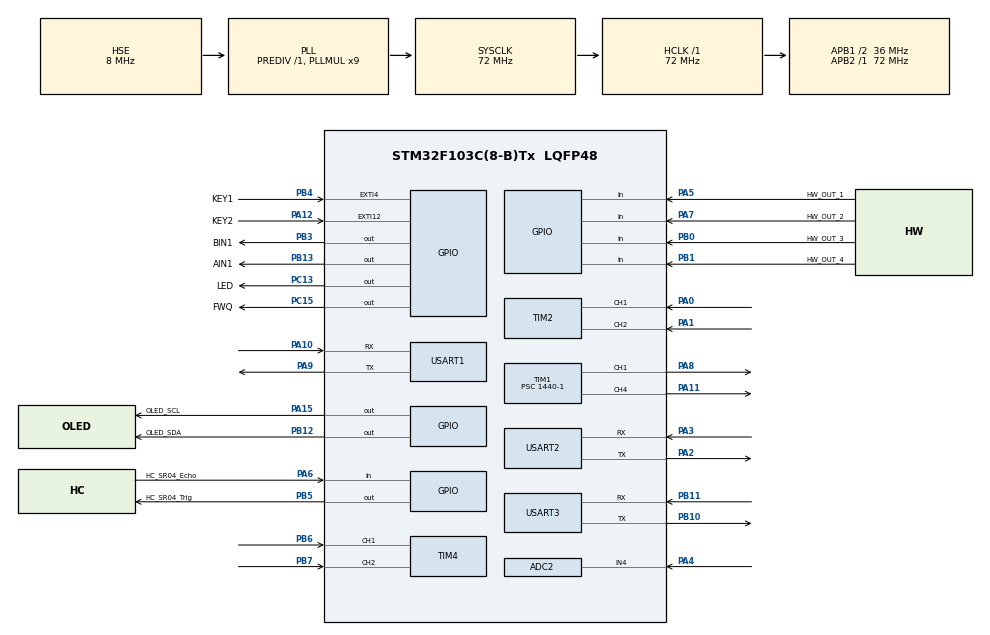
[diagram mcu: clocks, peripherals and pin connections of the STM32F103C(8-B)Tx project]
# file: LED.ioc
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ADC2.Channel-0\#ChannelRegularConversion=ADC_CHANNEL_4
ADC2.NbrOfConversionFlag=1
ADC2.Rank-0\#ChannelRegularConversion=1
ADC2.SamplingTime-0\#ChannelRegularConversion=ADC_SAMPLETIME_13CYCLES_5
Mcu.Family=STM32F1
Mcu.Name=STM32F103C(8-B)Tx
Mcu.Package=LQFP48
NVIC.EXTI15_10_IRQn=true\:0\:0\:false\:false\:true\:true\:true\:true
NVIC.EXTI4_IRQn=true\:0\:0\:false\:false\:true\:true\:true\:true
NVIC.PriorityGroup=NVIC_PRIORITYGROUP_4
NVIC.TIM1_UP_IRQn=true\:0\:0\:false\:false\:true\:true\:true\:true
NVIC.TIM2_IRQn=true\:0\:0\:false\:false\:true\:true\:true\:true
NVIC.TIM4_IRQn=true\:0\:0\:false\:false\:true\:true\:true\:true
NVIC.USART1_IRQn=true\:0\:0\:false\:false\:true\:true\:true\:true
NVIC.USART3_IRQn=true\:0\:0\:false\:false\:true\:true\:true\:true
PA0-WKUP.GPIO_PuPd=GPIO_PULLUP
PA0-WKUP.Signal=S_TIM2_CH1_ETR
PA1.GPIO_PuPd=GPIO_PULLUP
PA1.Signal=S_TIM2_CH2
PA10.Mode=Asynchronous
PA10.Signal=USART1_RX
PA11.Signal=S_TIM1_CH4
PA12.GPIO_Label=KEY2
PA12.GPIO_ModeDefaultEXTI=GPIO_MODE_IT_FALLING
PA12.GPIO_PuPd=GPIO_PULLUP
PA12.Signal=GPXTI12
PA13.Mode=Serial_Wire
PA13.Signal=SYS_JTMS-SWDIO
PA14.Mode=Serial_Wire
PA14.Signal=SYS_JTCK-SWCLK
PA15.GPIO_Label=OLED_SCL
PA15.GPIO_PuPd=GPIO_PULLUP
PA15.PinState=GPIO_PIN_SET
PA15.Signal=GPIO_Output
PA2.Mode=Asynchronous
PA2.Signal=USART2_TX
PA3.Mode=Asynchronous
PA3.Signal=USART2_RX
PA4.Signal=ADCx_IN4
PA5.GPIO_Label=HW_OUT_1
PA5.Signal=GPIO_Input
PA6.GPIO_Label=HC_SR04_Echo
PA6.Signal=GPIO_Input
PA7.GPIO_Label=HW_OUT_2
PA7.Signal=GPIO_Input
PA8.Signal=S_TIM1_CH1
PA9.Mode=Asynchronous
PA9.Signal=USART1_TX
PB0.GPIO_Label=HW_OUT_3
PB0.Signal=GPIO_Input
PB1.GPIO_Label=HW_OUT_4
PB1.Signal=GPIO_Input
PB10.Mode=Asynchronous
PB10.Signal=USART3_TX
PB11.Mode=Asynchronous
PB11.Signal=USART3_RX
PB12.GPIO_Label=OLED_SDA
PB12.GPIO_PuPd=GPIO_PULLUP
PB12.PinState=GPIO_PIN_SET
PB12.Signal=GPIO_Output
PB13.GPIO_Label=AIN1
PB13.Signal=GPIO_Output
PB3.GPIO_Label=BIN1
PB3.Signal=GPIO_Output
PB4.GPIO_Label=KEY1
PB4.GPIO_ModeDefaultEXTI=GPIO_MODE_IT_RISING
PB4.GPIO_PuPd=GPIO_PULLDOWN
PB4.Signal=GPXTI4
PB5.GPIO_Label=HC_SR04_Trig
PB5.Signal=GPIO_Output
PB6.GPIO_PuPd=GPIO_PULLUP
PB6.Signal=S_TIM4_CH1
PB7.GPIO_PuPd=GPIO_PULLUP
PB7.Signal=S_TIM4_CH2
PC13-TAMPER-RTC.GPIO_Label=LED
PC13-TAMPER-RTC.Signal=GPIO_Output
PC15-OSC32_OUT.GPIO_Label=FWQ
PC15-OSC32_OUT.Signal=GPIO_Output
PD0-OSC_IN.Mode=HSE-External-Oscillator
PD0-OSC_IN.Signal=RCC_OSC_IN
PD1-OSC_OUT.Mode=HSE-External-Oscillator
PD1-OSC_OUT.Signal=RCC_OSC_OUT
ProjectManager.HeapSize=0x800
ProjectManager.StackSize=0x800
ProjectManager.TargetToolchain=MDK-ARM V5.32
RCC.ADCPresc=RCC_ADCPCLK2_DIV6
RCC.AHBFreq_Value=72000000
RCC.APB1CLKDivider=RCC_HCLK_DIV2
RCC.APB1Freq_Value=36000000
RCC.APB1TimFreq_Value=72000000
RCC.APB2Freq_Value=72000000
RCC.APB2TimFreq_Value=72000000
RCC.HCLKFreq_Value=72000000
RCC.PLLMUL=RCC_PLL_MUL9
RCC.PLLSourceVirtual=RCC_PLLSOURCE_HSE
RCC.SYSCLKFreq_VALUE=72000000
RCC.SYSCLKSource=RCC_SYSCLKSOURCE_PLLCLK
RCC.USBFreq_Value=72000000
SH.ADCx_IN4.0=ADC2_IN4,IN4
SH.S_TIM1_CH1.0=TIM1_CH1,PWM Generation1 CH1
SH.S_TIM1_CH4.0=TIM1_CH4,PWM Generation4 CH4
SH.S_TIM2_CH1_ETR.0=TIM2_CH1,Encoder_Interface
SH.S_TIM2_CH2.0=TIM2_CH2,Encoder_Interface
SH.S_TIM4_CH1.0=TIM4_CH1,Encoder_Interface
SH.S_TIM4_CH2.0=TIM4_CH2,Encoder_Interface
TIM1.AutoReloadPreload=TIM_AUTORELOAD_PRELOAD_ENABLE
TIM1.Channel-PWM\ Generation1\ CH1=TIM_CHANNEL_1
TIM1.Channel-PWM\ Generation4\ CH4=TIM_CHANNEL_4
TIM1.Period=100-1
TIM1.Prescaler=1440-1
TIM1.Pulse-PWM\ Generation1\ CH1=50
TIM1.Pulse-PWM\ Generation4\ CH4=50
TIM2.EncoderMode=TIM_ENCODERMODE_TI12
TIM2.IC1Filter=6
TIM2.IC2Filter=6
TIM4.EncoderMode=TIM_ENCODERMODE_TI12
TIM4.IC1Filter=6
TIM4.IC2Filter=6
USART1.VirtualMode=VM_ASYNC
USART2.VirtualMode=VM_ASYNC
USART3.VirtualMode=VM_ASYNC
VP_TIM1_VS_ClockSourceINT.Mode=Internal
board=custom

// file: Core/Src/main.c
/* USER CODE BEGIN Header */
/**
  ******************************************************************************
  * @file           : main.c
  * @brief          : Main program body
  ******************************************************************************
  * @attention
  *
  * Copyright (c) 2022 STMicroelectronics.
  * All rights reserved.
  *
  * This software is licensed under terms that can be found in the LICENSE file
  * in the root directory of this software component.
  * If no LICENSE file comes with this software, it is provided AS-IS.
  *
  ******************************************************************************
  */
/* USER CODE END Header */
#include "main.h"
#include "adc.h"
#include "tim.h"
#include "usart.h"
#include "gpio.h"

/* USER CODE BEGIN Includes */
#include "oled.h"
#include "stdio.h"
#include "motor.h"
#include "niming.h"
#include "pid.h"
#include "cJSON.h"
#include <string.h>
#include "HC_SR04.h"

/* USER CODE END Includes */

/* USER CODE BEGIN PM */
extern float Motor1Speed ;
extern float Motor2Speed ;
int Motor1Pwm;
int Motor2Pwm;

extern tPid pidMotor1Speed;
extern tPid pidMotor2Speed;

extern uint8_t Usart1_ReadBuf[255]; //串口1 缓冲数组
extern uint8_t Usart1_ReadCount; //串口1 接收字节计数

float p,i,d,a,b;

extern float Mileage;
uint8_t OledString[35];
uint8_t Usart3String[20];
float g;

/* USER CODE END PM */

void SystemClock_Config(void);

int main(void)
{

  /* MCU Configuration--------------------------------------------------------*/

  /* Reset of all peripherals, Initializes the Flash interface and the Systick. */
  HAL_Init();

  /* Configure the system clock */
  SystemClock_Config();

  /* Initialize all configured peripherals */
  MX_GPIO_Init();
  MX_USART1_UART_Init();
  MX_TIM1_Init();
  MX_TIM2_Init();
  MX_TIM4_Init();
  MX_ADC2_Init();
  MX_USART2_UART_Init();
  MX_USART3_UART_Init();
  /* USER CODE BEGIN 2 */
  OLED_Init();			//初始化OLED
  OLED_Clear()  	;
  HAL_TIM_PWM_Start(&htim1,TIM_CHANNEL_1);//开启定时器1 通道1 PWM输出
  HAL_TIM_PWM_Start(&htim1,TIM_CHANNEL_4);//开启定时器1 通道4 PWM输出
  HAL_TIM_Encoder_Start(&htim2,TIM_CHANNEL_ALL);//开启定时器2
  HAL_TIM_Encoder_Start(&htim4,TIM_CHANNEL_ALL);//开启定时器4
  HAL_TIM_Base_Start_IT(&htim2);				//开启定时器2 中断
  HAL_TIM_Base_Start_IT(&htim4);                //开启定时器4 中断

  HAL_TIM_Base_Start_IT(&htim1);                //开启定时器1 中断

  PID_init();//PID初始化

	__HAL_UART_ENABLE_IT(&huart1,UART_IT_RXNE); //开启串口1接受中断

//	cJSON *cJsonData ,*cJsonVlaue;
  /* USER CODE END 2 */

  /* Infinite loop */
  /* USER CODE BEGIN WHILE */

if(READ_KEY2 ==0)
	{
		motorPidSetSpeed(0.2,0.2);
		while(1)
		{
			 sprintf((char *)Usart3String,"Mileage%.2f\r\n",Mileage);
       HAL_UART_Transmit(&huart3,( uint8_t *)Usart3String,strlen(( const char*)Usart3String),50);
	     sprintf((char *)OledString,"Mileage:%.2f ",Mileage);//显示里程数
       OLED_ShowString(0,2,OledString,12);//这个是oled驱动里面的，是显示位置的一个函数
			 if(Mileage>85)
			 {
			 motorPidSetSpeed(0,0);
			 HAL_Delay(1000);
			 motorPidSetSpeed(0.5,-0.5);
		   HAL_Delay(1300);
			 motorPidSetSpeed(0,0);
			 HAL_Delay(1000);
			 motorPidSetSpeed(0.2,0.2);
			 HAL_Delay(1000);
			 break;
			 }
		}
	}

		while(1)
	{
	HAL_Delay(1000);
	HAL_Delay(1000);
  HAL_Delay(1000);
  HAL_Delay(1000);
  HAL_Delay(1000);
	HAL_GPIO_WritePin(FWQ_GPIO_Port,FWQ_Pin,GPIO_PIN_SET);
	HAL_Delay(500);
	HAL_GPIO_WritePin(FWQ_GPIO_Port,FWQ_Pin,GPIO_PIN_RESET);
	HAL_Delay(1000);
	HAL_GPIO_WritePin(FWQ_GPIO_Port,FWQ_Pin,GPIO_PIN_SET);
	HAL_Delay(500);
	HAL_GPIO_WritePin(FWQ_GPIO_Port,FWQ_Pin,GPIO_PIN_RESET);
	HAL_Delay(1000);
	HAL_GPIO_WritePin(FWQ_GPIO_Port,FWQ_Pin,GPIO_PIN_SET);
	HAL_Delay(500);
	HAL_GPIO_WritePin(FWQ_GPIO_Port,FWQ_Pin,GPIO_PIN_RESET);
	HAL_Delay(1000);
	motorPidSetSpeed(0.35,0.35);
	HAL_Delay(1000);
	break;

	}

  while (1)
  {

	HAL_Delay(10);

   sprintf((char *)Usart3String,"Mileage%.2f\r\n",Mileage);
   HAL_UART_Transmit(&huart3,( uint8_t *)Usart3String,strlen(( const char*)Usart3String),50);
   sprintf((char *)OledString,"Mileage:%.2f ",Mileage);//显示里程数
   OLED_ShowString(0,2,OledString,12);//这个是oled驱动里面的，是显示位置的一个函数
//
//	 sprintf((char *)OledString,"U:%.2fV ",adcGetBatteryVoltage());//显示里程数
//   OLED_ShowString(0,4,OledString,12);//这个是oled驱动里面的，是显示位置的一个函数
//

	 if(READ_HW_OUT_1 == 1&&READ_HW_OUT_2 == 1&&READ_HW_OUT_3 == 1&&READ_HW_OUT_4== 1 )
	 {
		 motorPidSetSpeed(0.2,0.2);
		 HAL_Delay(2000);
//			motorPidSetSpeed(-0.45,0.45);
//		    HAL_Delay(100);
			motorPidSetSpeed(0,0);
		    break;
	 }
	 else if(READ_HW_OUT_1 == 1&&READ_HW_OUT_2 == 1&&READ_HW_OUT_3 == 1&&READ_HW_OUT_4== 0 )
	 {

		 motorPidSetSpeed(0.2,0.2);
		 HAL_Delay(2000);
//			motorPidSetSpeed(-0.45,0.45);
//		 HAL_Delay(100);
			motorPidSetSpeed(0,0);
		    break;
	 }
	 else if(READ_HW_OUT_1 == 0&&READ_HW_OUT_2 == 1&&READ_HW_OUT_3 == 1&&READ_HW_OUT_4== 1 )
	 {

		 motorPidSetSpeed(0.2,0.2);
		 HAL_Delay(2000);
//			motorPidSetSpeed(-0.45,0.45);
//	   HAL_Delay(100);
			motorPidSetSpeed(0,0);
		    break;
	 }
	else if(READ_HW_OUT_1 == 0&&READ_HW_OUT_2 == 1&&READ_HW_OUT_3 == 1&&READ_HW_OUT_4== 0 )
	 {

		 motorPidSetSpeed(0.2,0.2);
		 HAL_Delay(2000);
//			motorPidSetSpeed(-0.45,0.45);
//		 HAL_Delay(100);
			motorPidSetSpeed(0,0);
		    break;
	 }
	 else if(READ_HW_OUT_1 == 0&&READ_HW_OUT_2 == 0&&READ_HW_OUT_3 == 1&&READ_HW_OUT_4== 1 )
	 {
		 motorPidSetSpeed(0.2,0.2);
		 HAL_Delay(2000);
//			motorPidSetSpeed(-0.45,0.45);
//	   HAL_Delay(100);
			motorPidSetSpeed(0,0);
		    break;
	 }
	 else if(READ_HW_OUT_1 == 1&&READ_HW_OUT_2 == 1&&READ_HW_OUT_3 == 0&&READ_HW_OUT_4== 0 )
	 {
			motorPidSetSpeed(0,0);
		    break;
	 }

	 if(READ_HW_OUT_1 == 0&&READ_HW_OUT_2 == 0&&READ_HW_OUT_3 == 0&&READ_HW_OUT_4== 0 )
	 {

			motorPidSetSpeed(0.12,0.12);//前运动
	 }

    if(READ_HW_OUT_1 == 0&&READ_HW_OUT_2 == 0&&READ_HW_OUT_3 == 1&&READ_HW_OUT_4== 0 )
		{

			motorPidSetSpeed(0.15,0.35);//右边运动
		}

    if(READ_HW_OUT_1 == 0&&READ_HW_OUT_2 == 0&&READ_HW_OUT_3 == 0&&READ_HW_OUT_4== 1 )
		{

			motorPidSetSpeed(0.15,0.7);//快速右转
		}

    if(READ_HW_OUT_1 == 0&&READ_HW_OUT_2 == 1&&READ_HW_OUT_3 == 0&&READ_HW_OUT_4== 0 )
		{

			motorPidSetSpeed(0.35,0.15);//左边运动
		}

    if(READ_HW_OUT_1 == 1&&READ_HW_OUT_2 == 0&&READ_HW_OUT_3 == 0&&READ_HW_OUT_4== 0 )
		{

			motorPidSetSpeed(0.7,0.15);//快速左转
		}
  }

			while(1)//在暂停点1蜂鸣加超声波测距
	{

	HAL_GPIO_WritePin(FWQ_GPIO_Port,FWQ_Pin,GPIO_PIN_SET);
	HAL_Delay(500);
	HAL_GPIO_WritePin(FWQ_GPIO_Port,FWQ_Pin,GPIO_PIN_RESET);
	HAL_Delay(1000);
	HAL_GPIO_WritePin(FWQ_GPIO_Port,FWQ_Pin,GPIO_PIN_SET);
	HAL_Delay(500);
	HAL_GPIO_WritePin(FWQ_GPIO_Port,FWQ_Pin,GPIO_PIN_RESET);
	HAL_Delay(1000);
	HAL_GPIO_WritePin(FWQ_GPIO_Port,FWQ_Pin,GPIO_PIN_SET);
	HAL_Delay(500);
	HAL_GPIO_WritePin(FWQ_GPIO_Port,FWQ_Pin,GPIO_PIN_RESET);
	HAL_Delay(1000);
	float g = HC_SR04_Read();

	sprintf((char *)OledString,"g:%.2fcm",g+7);//显示超声波数据
  OLED_ShowString(0,0,OledString,12);//这个是oled驱动里面的，是显示位置的一个函数
	sprintf((char *)Usart3String,"g:%.2f\r\n",g+7);
  HAL_UART_Transmit(&huart3,( uint8_t *)Usart3String,strlen(( const char*)Usart3String),50);

	HAL_Delay(1000);
  HAL_Delay(1000);
  HAL_Delay(1000);
	HAL_Delay(1000);
	HAL_GPIO_WritePin(FWQ_GPIO_Port,FWQ_Pin,GPIO_PIN_SET);
	HAL_Delay(500);
	HAL_GPIO_WritePin(FWQ_GPIO_Port,FWQ_Pin,GPIO_PIN_RESET);
	HAL_Delay(1000);
	HAL_GPIO_WritePin(FWQ_GPIO_Port,FWQ_Pin,GPIO_PIN_SET);
	HAL_Delay(500);
	HAL_GPIO_WritePin(FWQ_GPIO_Port,FWQ_Pin,GPIO_PIN_RESET);
	HAL_Delay(1000);
	HAL_GPIO_WritePin(FWQ_GPIO_Port,FWQ_Pin,GPIO_PIN_SET);
	HAL_Delay(500);
	HAL_GPIO_WritePin(FWQ_GPIO_Port,FWQ_Pin,GPIO_PIN_RESET);
	break;
   }

   while(1)//避障前的循线
   {
	 sprintf((char *)Usart3String,"Mileage%.2f\r\n",Mileage);
   HAL_UART_Transmit(&huart3,( uint8_t *)Usart3String,strlen(( const char*)Usart3String),50);

		 sprintf((char *)OledString,"Mileage:%.2f ",Mileage);//显示里程数
     OLED_ShowString(0,2,OledString,12);//这个是oled驱动里面的，是显示位置的一个函数

			 if(READ_HW_OUT_1 == 0&&READ_HW_OUT_2 == 0&&READ_HW_OUT_3 == 0&&READ_HW_OUT_4== 0 )
	 {

			motorPidSetSpeed(0.4,0.4);//前运动
	 }

    if(READ_HW_OUT_1 == 0&&READ_HW_OUT_2 == 0&&READ_HW_OUT_3 == 1&&READ_HW_OUT_4== 0 )
		{

			motorPidSetSpeed(0.2,0.3);//右边运动，0.2 0.4
		}

    if(READ_HW_OUT_1 == 0&&READ_HW_OUT_2 == 0&&READ_HW_OUT_3 == 0&&READ_HW_OUT_4== 1 )
		{

			motorPidSetSpeed(0.2,0.6);//快速右转
		}

    if(READ_HW_OUT_1 == 0&&READ_HW_OUT_2 == 1&&READ_HW_OUT_3 == 0&&READ_HW_OUT_4== 0 )
		{

			motorPidSetSpeed(0.3,0.2);//左边运动
		}

    if(READ_HW_OUT_1 == 1&&READ_HW_OUT_2 == 0&&READ_HW_OUT_3 == 0&&READ_HW_OUT_4== 0 )
		{

			motorPidSetSpeed(0.6,0.2);//快速左转
		}

	   float g = HC_SR04_Read();
		 if(g<=22&&g>1)  break;
	  }

	//避障代码
		motorPidSetSpeed(1,-1);
		HAL_Delay(350);
	  motorPidSetSpeed(0,0);
	  HAL_Delay(500);
		motorPidSetSpeed(1,1);
		HAL_Delay(1800);
		motorPidSetSpeed(0,0);
	  HAL_Delay(500);
	  motorPidSetSpeed(-1,1);
		HAL_Delay(600);
	  motorPidSetSpeed(0,0);
	  HAL_Delay(500);

		while(1)//避障到达暂停点2
   {

	 sprintf((char *)Usart3String,"Mileage%.2f\r\n",Mileage);
   HAL_UART_Transmit(&huart3,( uint8_t *)Usart3String,strlen(( const char*)Usart3String),50);

		 sprintf((char *)OledString,"Mileage:%.2f ",Mileage);//显示里程数
     OLED_ShowString(0,2,OledString,12);//这个是oled驱动里面的，是显示位置的一个函数

		if(READ_HW_OUT_1 == 1&&READ_HW_OUT_2 == 1&&READ_HW_OUT_3 == 1&&READ_HW_OUT_4== 1 )
	 {
      motorPidSetSpeed(0.3,0.3);
		  HAL_Delay(500);
			motorPidSetSpeed(0,0);
		  HAL_Delay(500);
		    break;
	 }
	 else if(READ_HW_OUT_1 == 1&&READ_HW_OUT_2 == 1&&READ_HW_OUT_3 == 1&&READ_HW_OUT_4== 0 )
	 {
      motorPidSetSpeed(0.3,0.3);
		  HAL_Delay(500);
			motorPidSetSpeed(0,0);
		  HAL_Delay(500);
		    break;
	 }
	 else if(READ_HW_OUT_1 == 0&&READ_HW_OUT_2 == 1&&READ_HW_OUT_3 == 1&&READ_HW_OUT_4== 1 )
	 {
      motorPidSetSpeed(0.3,0.3);
		  HAL_Delay(500);
			motorPidSetSpeed(0,0);
		  HAL_Delay(500);
		    break;
	 }
	else if(READ_HW_OUT_1 == 0&&READ_HW_OUT_2 == 1&&READ_HW_OUT_3 == 1&&READ_HW_OUT_4== 0 )
	 {
      motorPidSetSpeed(0.3,0.3);
		  HAL_Delay(500);
			motorPidSetSpeed(0,0);
		  HAL_Delay(500);
		    break;
	 }
	 else if(READ_HW_OUT_1 == 0&&READ_HW_OUT_2 == 0&&READ_HW_OUT_3 == 1&&READ_HW_OUT_4== 1 )
	 {
      motorPidSetSpeed(0.3,0.3);
		  HAL_Delay(500);
			motorPidSetSpeed(0,0);
		  HAL_Delay(500);
		    break;
	 }
	 else if(READ_HW_OUT_1 == 1&&READ_HW_OUT_2 == 1&&READ_HW_OUT_3 == 0&&READ_HW_OUT_4== 0 )
	 {
		  motorPidSetSpeed(0.3,0.3);
		  HAL_Delay(500);
			motorPidSetSpeed(0,0);
		  HAL_Delay(500);
		    break;
	 }

		if(READ_HW_OUT_1 == 0&&READ_HW_OUT_2 == 0&&READ_HW_OUT_3 == 0&&READ_HW_OUT_4== 0 )
	 {
			printf("应该前进\r\n");
			motorPidSetSpeed(0.4,0.4);//前运动
	 }

    if(READ_HW_OUT_1 == 0&&READ_HW_OUT_2 == 0&&READ_HW_OUT_3 == 1&&READ_HW_OUT_4== 0 )
		{
			printf("应该右转\r\n");
			motorPidSetSpeed(0.1,0.3);//右边运动
		}

    if(READ_HW_OUT_1 == 0&&READ_HW_OUT_2 == 0&&READ_HW_OUT_3 == 0&&READ_HW_OUT_4== 1 )
		{
			printf("快速右转\r\n");
			motorPidSetSpeed(0.1,0.7);//快速右转
		}

    if(READ_HW_OUT_1 == 0&&READ_HW_OUT_2 == 1&&READ_HW_OUT_3 == 0&&READ_HW_OUT_4== 0 )
		{
			printf("应该左转\r\n");
			motorPidSetSpeed(0.5,0.1);//左边运动
		}

    if(READ_HW_OUT_1 == 1&&READ_HW_OUT_2 == 0&&READ_HW_OUT_3 == 0&&READ_HW_OUT_4== 0 )
		{
			printf("快速左转\r\n");
			motorPidSetSpeed(0.7,0.1);//快速左转
		}

	 }
	 //	 motorPidSetSpeed(-1,1);
	 //  HAL_Delay(600);//90度角k

	 while(1)//在暂停点2蜂鸣
	 {
//			sprintf((char *)OledString,"HC_SR04:%.2fcm",g);//显示超声波数据
//			OLED_ShowString(0,1,OledString,12);//这个是oled驱动里面的，是显示位置的一个函数
			HAL_GPIO_WritePin(FWQ_GPIO_Port,FWQ_Pin,GPIO_PIN_SET);
			HAL_Delay(500);
			HAL_GPIO_WritePin(FWQ_GPIO_Port,FWQ_Pin,GPIO_PIN_RESET);
			HAL_Delay(1000);
			HAL_GPIO_WritePin(FWQ_GPIO_Port,FWQ_Pin,GPIO_PIN_SET);
			HAL_Delay(500);
			HAL_GPIO_WritePin(FWQ_GPIO_Port,FWQ_Pin,GPIO_PIN_RESET);
			HAL_Delay(1000);
			HAL_GPIO_WritePin(FWQ_GPIO_Port,FWQ_Pin,GPIO_PIN_SET);
			HAL_Delay(500);
			HAL_GPIO_WritePin(FWQ_GPIO_Port,FWQ_Pin,GPIO_PIN_RESET);
			HAL_Delay(5000);
		  HAL_GPIO_WritePin(FWQ_GPIO_Port,FWQ_Pin,GPIO_PIN_SET);
			HAL_Delay(500);
			HAL_GPIO_WritePin(FWQ_GPIO_Port,FWQ_Pin,GPIO_PIN_RESET);
			HAL_Delay(1000);
			HAL_GPIO_WritePin(FWQ_GPIO_Port,FWQ_Pin,GPIO_PIN_SET);
			HAL_Delay(500);
			HAL_GPIO_WritePin(FWQ_GPIO_Port,FWQ_Pin,GPIO_PIN_RESET);
			HAL_Delay(1000);
			HAL_GPIO_WritePin(FWQ_GPIO_Port,FWQ_Pin,GPIO_PIN_SET);
			HAL_Delay(500);
			HAL_GPIO_WritePin(FWQ_GPIO_Port,FWQ_Pin,GPIO_PIN_RESET);
			break;
	 }

	 motorPidSetSpeed(0.5,0.5);
	 HAL_Delay(4300);
	 motorPidSetSpeed(0,0);
	 HAL_Delay(1500);
	 motorPidSetSpeed(-0.5,0.5);
	 HAL_Delay(1300);

	 while(1)//到暂停点三的循线
	 {

		 sprintf((char *)Usart3String,"Mileage%.2f\r\n",Mileage);
   HAL_UART_Transmit(&huart3,( uint8_t *)Usart3String,strlen(( const char*)Usart3String),50);

		 sprintf((char *)OledString,"Mileage:%.2f ",Mileage);//显示里程数
     OLED_ShowString(0,2,OledString,12);//这个是oled驱动里面的，是显示位置的一个函数

	 	if(READ_HW_OUT_1 == 1&&READ_HW_OUT_2 == 1&&READ_HW_OUT_3 == 1&&READ_HW_OUT_4== 1 )
	 {
      motorPidSetSpeed(0.8,0.8);
		  HAL_Delay(500);
			motorPidSetSpeed(0,0);
		  HAL_Delay(500);
		    break;
	 }
	 else if(READ_HW_OUT_1 == 1&&READ_HW_OUT_2 == 1&&READ_HW_OUT_3 == 1&&READ_HW_OUT_4== 0 )
	 {
      motorPidSetSpeed(0.8,0.8);
		  HAL_Delay(500);
			motorPidSetSpeed(0,0);
		  HAL_Delay(500);
		    break;
	 }
	 else if(READ_HW_OUT_1 == 0&&READ_HW_OUT_2 == 1&&READ_HW_OUT_3 == 1&&READ_HW_OUT_4== 1 )
	 {
      motorPidSetSpeed(0.8,0.8);
		  HAL_Delay(500);
			motorPidSetSpeed(0,0);
		  HAL_Delay(500);
		    break;
	 }
	else if(READ_HW_OUT_1 == 0&&READ_HW_OUT_2 == 1&&READ_HW_OUT_3 == 1&&READ_HW_OUT_4== 0 )
	 {
      motorPidSetSpeed(0.8,0.8);
		  HAL_Delay(500);
			motorPidSetSpeed(0,0);
		  HAL_Delay(500);
		    break;
	 }
	 else if(READ_HW_OUT_1 == 0&&READ_HW_OUT_2 == 0&&READ_HW_OUT_3 == 1&&READ_HW_OUT_4== 1 )
	 {
      motorPidSetSpeed(0.8,0.8);
		  HAL_Delay(500);
			motorPidSetSpeed(0,0);
		  HAL_Delay(500);
		    break;
	 }
	 else if(READ_HW_OUT_1 == 1&&READ_HW_OUT_2 == 1&&READ_HW_OUT_3 == 0&&READ_HW_OUT_4== 0 )
	 {
		  motorPidSetSpeed(0.8,0.8);
		  HAL_Delay(500);
			motorPidSetSpeed(0,0);
		  HAL_Delay(500);
		    break;
	 }

		if(READ_HW_OUT_1 == 0&&READ_HW_OUT_2 == 0&&READ_HW_OUT_3 == 0&&READ_HW_OUT_4== 0 )
	 {
			printf("应该前进\r\n");
			motorPidSetSpeed(0.8,0.8);//前运动
	 }

    if(READ_HW_OUT_1 == 0&&READ_HW_OUT_2 == 0&&READ_HW_OUT_3 == 1&&READ_HW_OUT_4== 0 )
		{
			printf("应该右转\r\n");
			motorPidSetSpeed(0.1,0.3);//右边运动
		}

    if(READ_HW_OUT_1 == 0&&READ_HW_OUT_2 == 0&&READ_HW_OUT_3 == 0&&READ_HW_OUT_4== 1 )
		{
			printf("快速右转\r\n");
			motorPidSetSpeed(0.1,0.6);//快速右转
		}

    if(READ_HW_OUT_1 == 0&&READ_HW_OUT_2 == 1&&READ_HW_OUT_3 == 0&&READ_HW_OUT_4== 0 )
		{
			printf("应该左转\r\n");
			motorPidSetSpeed(0.3,0.1);//左边运动
		}

    if(READ_HW_OUT_1 == 1&&READ_HW_OUT_2 == 0&&READ_HW_OUT_3 == 0&&READ_HW_OUT_4== 0 )
		{
			printf("快速左转\r\n");
			motorPidSetSpeed(0.6,0.1);//快速左转
		}

	 }

	    HAL_GPIO_WritePin(FWQ_GPIO_Port,FWQ_Pin,GPIO_PIN_SET);
			HAL_Delay(500);
			HAL_GPIO_WritePin(FWQ_GPIO_Port,FWQ_Pin,GPIO_PIN_RESET);
			HAL_Delay(1000);
			HAL_GPIO_WritePin(FWQ_GPIO_Port,FWQ_Pin,GPIO_PIN_SET);
			HAL_Delay(500);
			HAL_GPIO_WritePin(FWQ_GPIO_Port,FWQ_Pin,GPIO_PIN_RESET);
			HAL_Delay(1000);
			HAL_GPIO_WritePin(FWQ_GPIO_Port,FWQ_Pin,GPIO_PIN_SET);
			HAL_Delay(500);
			HAL_GPIO_WritePin(FWQ_GPIO_Port,FWQ_Pin,GPIO_PIN_RESET);
	    HAL_Delay(5000);
		  HAL_GPIO_WritePin(FWQ_GPIO_Port,FWQ_Pin,GPIO_PIN_SET);
			HAL_Delay(500);
			HAL_GPIO_WritePin(FWQ_GPIO_Port,FWQ_Pin,GPIO_PIN_RESET);
			HAL_Delay(1000);
			HAL_GPIO_WritePin(FWQ_GPIO_Port,FWQ_Pin,GPIO_PIN_SET);
			HAL_Delay(500);
			HAL_GPIO_WritePin(FWQ_GPIO_Port,FWQ_Pin,GPIO_PIN_RESET);
			HAL_Delay(1000);
			HAL_GPIO_WritePin(FWQ_GPIO_Port,FWQ_Pin,GPIO_PIN_SET);
			HAL_Delay(500);
			HAL_GPIO_WritePin(FWQ_GPIO_Port,FWQ_Pin,GPIO_PIN_RESET);

	     motorPidSetSpeed(-1,1);
	     HAL_Delay(300);//90度角k
	     motorPidSetSpeed(0,0);
	     HAL_Delay(600);
	     motorPidSetSpeed(1,1);
	     HAL_Delay(7500);
			 motorPidSetSpeed(0,0);
	     HAL_Delay(600);
			 motorPidSetSpeed(0,0);
	     motorPidSetSpeed(-1,1);
			 HAL_Delay(750);
			 motorPidSetSpeed(0,0);
			 HAL_Delay(600);

	 while(1)
	 {

		 sprintf((char *)Usart3String,"Mileage%.2f\r\n",Mileage);
     HAL_UART_Transmit(&huart3,( uint8_t *)Usart3String,strlen(( const char*)Usart3String),50);

		 sprintf((char *)OledString,"Mileage:%.2f ",Mileage);//显示里程数
     OLED_ShowString(0,2,OledString,12);//这个是oled驱动里面的，是显示位置的一个函数

	 	if(READ_HW_OUT_1 == 1&&READ_HW_OUT_2 == 1&&READ_HW_OUT_3 == 1&&READ_HW_OUT_4== 1 )
	 {
      motorPidSetSpeed(0.8,0.8);
		  HAL_Delay(500);
			motorPidSetSpeed(0,0);
		  HAL_Delay(500);
		    break;
	 }
	 else if(READ_HW_OUT_1 == 1&&READ_HW_OUT_2 == 1&&READ_HW_OUT_3 == 1&&READ_HW_OUT_4== 0 )
	 {
      motorPidSetSpeed(0.8,0.8);
		  HAL_Delay(500);
			motorPidSetSpeed(0,0);
		  HAL_Delay(500);
		    break;
	 }
	 else if(READ_HW_OUT_1 == 0&&READ_HW_OUT_2 == 1&&READ_HW_OUT_3 == 1&&READ_HW_OUT_4== 1 )
	 {
      motorPidSetSpeed(0.8,0.8);
		  HAL_Delay(500);
			motorPidSetSpeed(0,0);
		  HAL_Delay(500);
		    break;
	 }
	else if(READ_HW_OUT_1 == 0&&READ_HW_OUT_2 == 1&&READ_HW_OUT_3 == 1&&READ_HW_OUT_4== 0 )
	 {
      motorPidSetSpeed(0.8,0.8);
		  HAL_Delay(500);
			motorPidSetSpeed(0,0);
		  HAL_Delay(500);
		    break;
	 }
	 else if(READ_HW_OUT_1 == 0&&READ_HW_OUT_2 == 0&&READ_HW_OUT_3 == 1&&READ_HW_OUT_4== 1 )
	 {
      motorPidSetSpeed(0.8,0.8);
		  HAL_Delay(500);
			motorPidSetSpeed(0,0);
		  HAL_Delay(500);
		    break;
	 }
	 else if(READ_HW_OUT_1 == 1&&READ_HW_OUT_2 == 1&&READ_HW_OUT_3 == 0&&READ_HW_OUT_4== 0 )
	 {
		  motorPidSetSpeed(0.8,0.8);
		  HAL_Delay(500);
			motorPidSetSpeed(0,0);
		  HAL_Delay(500);
		    break;
	 }

		if(READ_HW_OUT_1 == 0&&READ_HW_OUT_2 == 0&&READ_HW_OUT_3 == 0&&READ_HW_OUT_4== 0 )
	 {
			printf("应该前进\r\n");
			motorPidSetSpeed(0.8,0.8);//前运动
	 }

    if(READ_HW_OUT_1 == 0&&READ_HW_OUT_2 == 0&&READ_HW_OUT_3 == 1&&READ_HW_OUT_4== 0 )
		{
			printf("应该右转\r\n");
			motorPidSetSpeed(0.1,0.3);//右边运动
		}

    if(READ_HW_OUT_1 == 0&&READ_HW_OUT_2 == 0&&READ_HW_OUT_3 == 0&&READ_HW_OUT_4== 1 )
		{
			printf("快速右转\r\n");
			motorPidSetSpeed(0.1,0.6);//快速右转
		}

    if(READ_HW_OUT_1 == 0&&READ_HW_OUT_2 == 1&&READ_HW_OUT_3 == 0&&READ_HW_OUT_4== 0 )
		{
			printf("应该左转\r\n");
			motorPidSetSpeed(0.3,0.1);//左边运动
		}

    if(READ_HW_OUT_1 == 1&&READ_HW_OUT_2 == 0&&READ_HW_OUT_3 == 0&&READ_HW_OUT_4== 0 )
		{
			printf("快速左转\r\n");
			motorPidSetSpeed(0.6,0.1);//快速左转
		}

	 }
	 		HAL_GPIO_WritePin(FWQ_GPIO_Port,FWQ_Pin,GPIO_PIN_SET);
			HAL_Delay(500);
			HAL_GPIO_WritePin(FWQ_GPIO_Port,FWQ_Pin,GPIO_PIN_RESET);
			HAL_Delay(1000);
			HAL_GPIO_WritePin(FWQ_GPIO_Port,FWQ_Pin,GPIO_PIN_SET);
			HAL_Delay(500);
			HAL_GPIO_WritePin(FWQ_GPIO_Port,FWQ_Pin,GPIO_PIN_RESET);
			HAL_Delay(1000);
			HAL_GPIO_WritePin(FWQ_GPIO_Port,FWQ_Pin,GPIO_PIN_SET);
			HAL_Delay(500);
			HAL_GPIO_WritePin(FWQ_GPIO_Port,FWQ_Pin,GPIO_PIN_RESET);

  /* USER CODE END 3 */
}

void SystemClock_Config(void)
{
  RCC_OscInitTypeDef RCC_OscInitStruct = {0};
  RCC_ClkInitTypeDef RCC_ClkInitStruct = {0};
  RCC_PeriphCLKInitTypeDef PeriphClkInit = {0};

  /** Initializes the RCC Oscillators according to the specified parameters
  * in the RCC_OscInitTypeDef structure.
  */
  RCC_OscInitStruct.OscillatorType = RCC_OSCILLATORTYPE_HSE;
  RCC_OscInitStruct.HSEState = RCC_HSE_ON;
  RCC_OscInitStruct.HSEPredivValue = RCC_HSE_PREDIV_DIV1;
  RCC_OscInitStruct.HSIState = RCC_HSI_ON;
  RCC_OscInitStruct.PLL.PLLState = RCC_PLL_ON;
  RCC_OscInitStruct.PLL.PLLSource = RCC_PLLSOURCE_HSE;
  RCC_OscInitStruct.PLL.PLLMUL = RCC_PLL_MUL9;
  if (HAL_RCC_OscConfig(&RCC_OscInitStruct) != HAL_OK)
  {
    Error_Handler();
  }

  /** Initializes the CPU, AHB and APB buses clocks
  */
  RCC_ClkInitStruct.ClockType = RCC_CLOCKTYPE_HCLK|RCC_CLOCKTYPE_SYSCLK
                              |RCC_CLOCKTYPE_PCLK1|RCC_CLOCKTYPE_PCLK2;
  RCC_ClkInitStruct.SYSCLKSource = RCC_SYSCLKSOURCE_PLLCLK;
  RCC_ClkInitStruct.AHBCLKDivider = RCC_SYSCLK_DIV1;
  RCC_ClkInitStruct.APB1CLKDivider = RCC_HCLK_DIV2;
  RCC_ClkInitStruct.APB2CLKDivider = RCC_HCLK_DIV1;

  if (HAL_RCC_ClockConfig(&RCC_ClkInitStruct, FLASH_LATENCY_2) != HAL_OK)
  {
    Error_Handler();
  }
  PeriphClkInit.PeriphClockSelection = RCC_PERIPHCLK_ADC;
  PeriphClkInit.AdcClockSelection = RCC_ADCPCLK2_DIV6;
  if (HAL_RCCEx_PeriphCLKConfig(&PeriphClkInit) != HAL_OK)
  {
    Error_Handler();
  }
}

void Error_Handler(void)
{
  __disable_irq();
  while (1)
  {
  }
}
